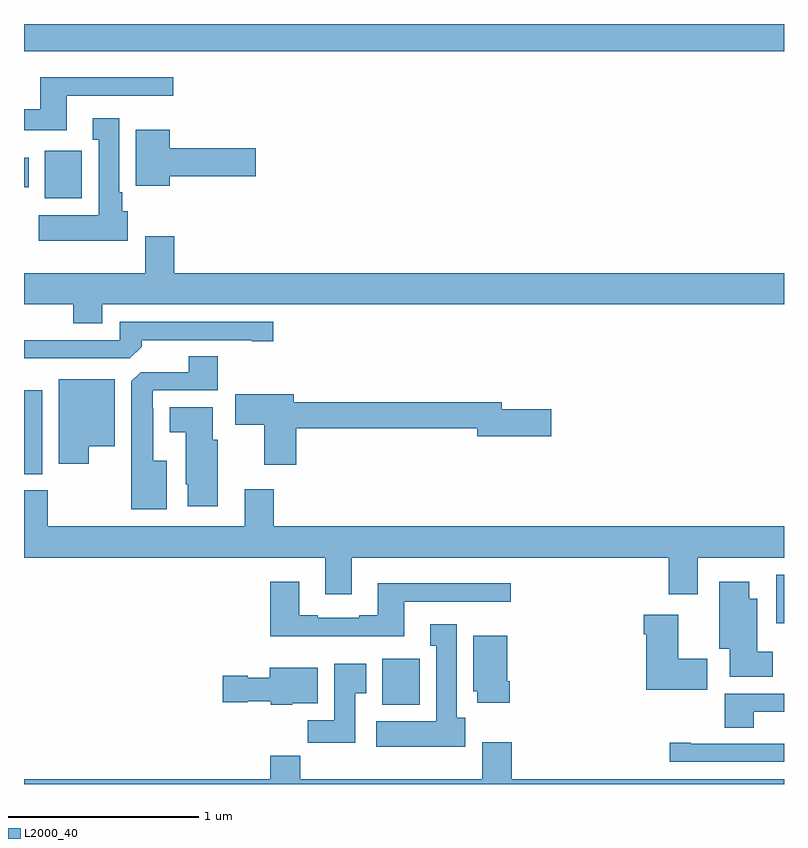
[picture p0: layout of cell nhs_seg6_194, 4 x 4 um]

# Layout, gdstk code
import gdstk
lib = gdstk.Library(unit=1e-6, precision=1e-09)
def R(c, l, rs):  # rectangles x0, y0, x1, y1
    for r in rs: c.add(gdstk.rectangle(r[:2], r[2:], *l))
def P(c, l, *ps):  # polygons
    for p in ps: c.add(gdstk.Polygon(p, *l))
L2000_40 = (2000, 40)

nhs_seg6_194 = lib.new_cell('nhs_seg6_194')
R(nhs_seg6_194, L2000_40, [(122.885,923.918,123.082,924.16), (124.958,924.347,125,924.601), (121,925.13,121.096,925.573), (121.109,926.582,121.305,926.833), (121,926.641,121.024,926.797), (121,927.356,125,927.5)])
P(nhs_seg6_194, L2000_40, [(121.225,927.123),(121.786,927.123),(121.786,927.22),(121.085,927.22),(121.085,927.052),(121,927.052),(121,926.942),(121.225,926.942)],
  [(121.546,926.514),(121.516,926.514),(121.516,926.614),(121.501,926.614),(121.501,927.004),(121.361,927.004),(121.361,926.891),(121.394,926.891),(121.394,926.494),(121.077,926.494),(121.077,926.36),(121.546,926.36)],
  [(121.768,926.699),(122.221,926.699),(122.221,926.846),(121.768,926.846),(121.768,926.944),(121.589,926.944),(121.589,926.648),(121.768,926.648)],
  [(121.411,926.024),(125,926.024),(125,926.188),(121.79,926.188),(121.79,926.383),(121.637,926.383),(121.637,926.188),(121,926.188),(121,926.024),(121.259,926.024),(121.259,925.925),(121.411,925.925)],
  [(121.619,925.802),(121.619,925.836),(122.198,925.836),(122.198,925.831),(122.311,925.831),(122.311,925.932),(121.503,925.932),(121.503,925.836),(121,925.836),(121,925.74),(121.557,925.74)],
  [(121.75,925.201),(121.681,925.201),(121.681,925.475),(121.677,925.475),(121.677,925.572),(122.021,925.572),(122.021,925.751),(121.868,925.751),(121.868,925.668),(121.614,925.668),(121.565,925.619),(121.565,924.947),(121.75,924.947)],
  [(121.342,925.277),(121.477,925.277),(121.477,925.63),(121.184,925.63),(121.184,925.185),(121.342,925.185)],
  [(122.432,925.372),(123.386,925.372),(123.386,925.33),(123.775,925.33),(123.775,925.472),(123.514,925.472),(123.514,925.508),(122.419,925.508),(122.419,925.552),(122.112,925.552),(122.112,925.39),(122.264,925.39),(122.264,925.179),(122.432,925.179)],
  [(122.02,925.311),(121.993,925.311),(121.993,925.483),(121.766,925.483),(121.766,925.352),(121.85,925.352),(121.85,925.077),(121.862,925.077),(121.862,924.963),(122.02,924.963)],
  [(122.725,924.692),(124.394,924.692),(124.394,924.498),(124.546,924.498),(124.546,924.692),(125,924.692),(125,924.856),(122.315,924.856),(122.315,925.051),(122.162,925.051),(122.162,924.856),(121.125,924.856),(121.125,925.045),(121,925.045),(121,924.692),(122.585,924.692),(122.585,924.498),(122.725,924.498)],
  [(124.942,924.196),(124.858,924.196),(124.858,924.475),(124.816,924.475),(124.816,924.565),(124.658,924.565),(124.658,924.212),(124.715,924.212),(124.715,924.065),(124.942,924.065)],
  [(123.001,924.459),(123.562,924.459),(123.562,924.556),(122.861,924.556),(122.861,924.388),(122.765,924.388),(122.765,924.375),(122.545,924.375),(122.545,924.388),(122.449,924.388),(122.449,924.565),(122.297,924.565),(122.297,924.278),(123.001,924.278)],
  [(124.597,924.159),(124.444,924.159),(124.444,924.391),(124.262,924.391),(124.262,924.287),(124.274,924.287),(124.274,923.996),(124.597,923.996)],
  [(123.322,923.85),(123.277,923.85),(123.277,924.34),(123.137,924.34),(123.137,924.227),(123.17,924.227),(123.17,923.83),(122.853,923.83),(122.853,923.696),(123.322,923.696)],
  [(123.557,924.04),(123.544,924.04),(123.544,924.28),(123.365,924.28),(123.365,923.988),(123.386,923.988),(123.386,923.928),(123.557,923.928)],
  [(122.743,923.977),(122.8,923.977),(122.8,924.133),(122.633,924.133),(122.633,923.836),(122.494,923.836),(122.494,923.718),(122.743,923.718)],
  [(122.412,923.924),(122.545,923.924),(122.545,924.112),(122.294,924.112),(122.294,924.058),(122.178,924.058),(122.178,924.071),(122.046,924.071),(122.046,923.929),(122.178,923.929),(122.178,923.936),(122.298,923.936),(122.298,923.918),(122.412,923.918)],
  [(124.84,923.88),(125,923.88),(125,923.976),(124.688,923.976),(124.688,923.797),(124.84,923.797)],
  [(125,923.524),(123.566,923.524),(123.566,923.719),(123.413,923.719),(123.413,923.524),(122.453,923.524),(122.453,923.648),(122.297,923.648),(122.297,923.524),(121,923.524),(121,923.5),(125,923.5)],
  [(125,923.712),(124.51,923.712),(124.51,923.717),(124.398,923.717),(124.398,923.616),(125,923.616)])

lib.write_gds('nhs_seg6_194.gds')
